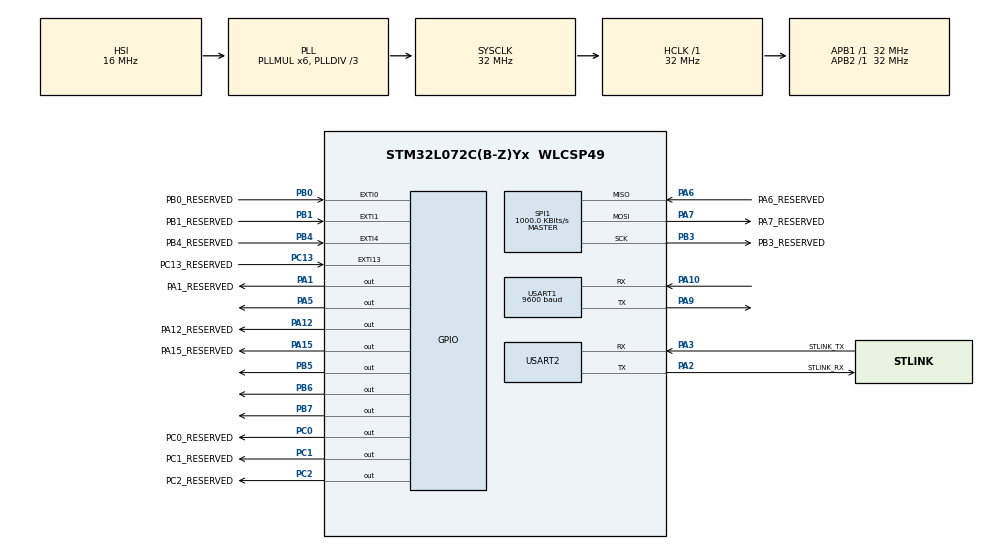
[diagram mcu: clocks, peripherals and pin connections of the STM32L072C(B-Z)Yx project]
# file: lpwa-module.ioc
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Mcu.Family=STM32L0
Mcu.Name=STM32L072C(B-Z)Yx
Mcu.Package=WLCSP49
NVIC.EXTI0_1_IRQn=true\:0\:0\:false\:false\:true\:true\:true
NVIC.EXTI4_15_IRQn=true\:0\:0\:false\:false\:true\:true\:true
NVIC.RTC_IRQn=true\:0\:0\:false\:false\:true\:true\:true
NVIC.TIM3_IRQn=true\:0\:0\:false\:false\:true\:true\:true
NVIC.USART1_IRQn=true\:0\:0\:false\:false\:true\:true\:true
NVIC.USART2_IRQn=true\:0\:0\:false\:false\:true\:true\:true
PA1.GPIO_Label=PA1_RESERVED
PA1.GPIO_Speed=GPIO_SPEED_FREQ_HIGH
PA1.PinState=GPIO_PIN_RESET
PA1.Signal=GPIO_Output
PA10.Mode=Asynchronous
PA10.Signal=USART1_RX
PA12.GPIO_Label=PA12_RESERVED
PA12.GPIO_Speed=GPIO_SPEED_FREQ_HIGH
PA12.Signal=GPIO_Output
PA15.GPIO_Label=PA15_RESERVED
PA15.GPIO_Speed=GPIO_SPEED_FREQ_HIGH
PA15.Signal=GPIO_Output
PA2.GPIO_Label=STLINK_RX
PA2.Mode=Asynchronous
PA2.Signal=USART2_TX
PA3.GPIO_Label=STLINK_TX
PA3.Mode=Asynchronous
PA3.Signal=USART2_RX
PA5.Signal=GPIO_Output
PA6.GPIO_Label=PA6_RESERVED
PA6.Mode=Full_Duplex_Master
PA6.Signal=SPI1_MISO
PA7.GPIO_Label=PA7_RESERVED
PA7.Mode=Full_Duplex_Master
PA7.Signal=SPI1_MOSI
PA9.Mode=Asynchronous
PA9.Signal=USART1_TX
PB0.GPIO_Label=PB0_RESERVED
PB0.Signal=GPXTI0
PB1.GPIO_Label=PB1_RESERVED
PB1.Signal=GPXTI1
PB3.GPIO_Label=PB3_RESERVED
PB3.Mode=Full_Duplex_Master
PB3.Signal=SPI1_SCK
PB4.GPIO_Label=PB4_RESERVED
PB4.Signal=GPXTI4
PB5.Signal=GPIO_Output
PB6.Signal=GPIO_Output
PB7.Signal=GPIO_Output
PC0.GPIO_Label=PC0_RESERVED
PC0.GPIO_Speed=GPIO_SPEED_FREQ_HIGH
PC0.Signal=GPIO_Output
PC1.GPIO_Label=PC1_RESERVED
PC1.GPIO_Speed=GPIO_SPEED_FREQ_HIGH
PC1.Signal=GPIO_Output
PC13.GPIO_Label=PC13_RESERVED
PC13.Signal=GPXTI13
PC2.GPIO_Label=PC2_RESERVED
PC2.GPIO_Speed=GPIO_SPEED_FREQ_HIGH
PC2.Signal=GPIO_Output
PH0-OSC_IN.Signal=RCC_OSC_IN
PH1-OSC_OUT.Signal=RCC_OSC_OUT
ProjectManager.HeapSize=0x200
ProjectManager.StackSize=0x400
ProjectManager.TargetToolchain=STM32CubeIDE
RCC.AHBFreq_Value=32000000
RCC.APB1Freq_Value=32000000
RCC.APB1TimFreq_Value=32000000
RCC.APB2Freq_Value=32000000
RCC.APB2TimFreq_Value=32000000
RCC.HCLKFreq_Value=32000000
RCC.HSE_VALUE=8000000
RCC.HSI16_VALUE=16000000
RCC.HSI48_VALUE=48000000
RCC.HSI_VALUE=16000000
RCC.LSE_VALUE=32768
RCC.MSI_VALUE=2097000
RCC.PLLDIV=RCC_PLLDIV_3
RCC.PLLMUL=RCC_PLLMUL_6
RCC.SYSCLKFreq_VALUE=32000000
RCC.SYSCLKSource=RCC_SYSCLKSOURCE_PLLCLK
RCC.VCOOutputFreq_Value=96000000
RTC.Alarm-Alarm\ A=RTC_ALARM_A
RTC.AlarmSubSecondMask-Alarm\ A=RTC_ALARMSUBSECONDMASK_NONE
RTC.AsynchPrediv=31
RTC.Format=RTC_FORMAT_BIN
RTC.SynchPrediv=1023
SPI1.BaudRatePrescaler=SPI_BAUDRATEPRESCALER_32
SPI1.CalculateBaudRate=1000.0 KBits/s
SPI1.Direction=SPI_DIRECTION_2LINES
SPI1.Mode=SPI_MODE_MASTER
SPI1.VirtualType=VM_MASTER
TIM3.Period=100-1
TIM3.Prescaler=8000-1
USART1.BaudRate=9600
USART1.VirtualMode-Asynchronous=VM_ASYNC
USART2.VirtualMode-Asynchronous=VM_ASYNC
VP_RTC_VS_RTC_Activate.Mode=RTC_Enabled
VP_RTC_VS_RTC_Alarm_A_Intern.Mode=Alarm A
VP_RTC_VS_RTC_Calendar.Mode=RTC_Calendar
VP_TIM3_VS_ClockSourceINT.Mode=Internal
board=B-L072Z-LRWAN1

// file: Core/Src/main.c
/* USER CODE BEGIN Header */
/**
 ******************************************************************************
 * @file           : main.c
 * @brief          : Main program body
 ******************************************************************************
 * @attention
 *
 * <h2><center>&copy; Copyright (c) 2021 STMicroelectronics.
 * All rights reserved.</center></h2>
 *
 * This software component is licensed by ST under BSD 3-Clause license,
 * the "License"; You may not use this file except in compliance with the
 * License. You may obtain a copy of the License at:
 *                        opensource.org/licenses/BSD-3-Clause
 *
 ******************************************************************************
 */
/* USER CODE END Header */
#include "main.h"

/* USER CODE BEGIN Includes */

#include "main.h"
#include "lora.h"
#include "console.h"
#include "command.h"
#include "eeprom.h"
#include "packet.h"

/* USER CODE END Includes */

RTC_HandleTypeDef hrtc;

SPI_HandleTypeDef hspi1;

TIM_HandleTypeDef htim3;

UART_HandleTypeDef huart1;
UART_HandleTypeDef huart2;

/* USER CODE BEGIN PV */

static SX1276_hw_t SX1276_hw;
static SX1276_t SX1276;

int DebugEnable;

int LEDCounterBlink;
int LEDCounterTx;
int LEDCounterRx;
int LEDCounterLED2;

static uint8_t serial_buffer;
static int command_buffer_pos;
static uint8_t command_buffer[200];
static uint8_t sensor_data[22];

/* USER CODE END PV */

void SystemClock_Config(void);
static void MX_GPIO_Init(void);
static void MX_RTC_Init(void);
static void MX_SPI1_Init(void);
static void MX_USART2_UART_Init(void);
static void MX_USART1_UART_Init(void);
static void MX_TIM3_Init(void);

/* USER CODE BEGIN 0 */
void HAL_TIM_PeriodElapsedCallback(TIM_HandleTypeDef *htim)
{
    if (htim == &htim3){
        tc = tc +  1;
    }
}

// ATコマンドを実行したよ�?に見せかけて�?�?
extern int command_uplink(const uint8_t *param);

// Serial callback for AT command input
void HAL_UART_RxCpltCallback(UART_HandleTypeDef *UartHandle) {
	if ( UartHandle->Instance == USART1 ) {
		static int cycle = 0;
		if (DebugEnable) {
			int i;
			SerialOutput("[SENSOR] ");
			for (i = 0; i < 21; i++) {
				SerialOutput("%02X ", sensor_data[i]);
			}
			SerialOutput("\r\n");
		}
		// "ATU"
		if (--cycle <= 0) {
			cycle = ConfigReadFeature(FCONF_TELEMETRY_ON);
			// こ�?�変換、かっこ悪�?ので修正するべき�?�?
			int i;
			char param[49] = "\"!S001";
			for (i = 0; i < 21; i++) {
				sprintf(param + i * 2 + 6, "%1X%1X",
						(sensor_data[i] >> 4) & 0xF, sensor_data[i] & 0xF);
			}
			if( cycle > 0 ){
				command_uplink((uint8_t*) param);
			}
		}
		// Next
		HAL_UART_Receive_IT(&huart1, (uint8_t*) sensor_data, 21);
	} else if (UartHandle->Instance == USART2) {
		SerialOutput("%c", serial_buffer);
		if (serial_buffer == 0x08) {
			// Backspace
			if (command_buffer_pos > 0) {
				SerialOutput(" \x08");
				command_buffer_pos--;
			}
		} else {
			command_buffer[command_buffer_pos++] = serial_buffer;
		}
		// Next
		HAL_UART_Receive_IT(&huart2, (uint8_t*) &serial_buffer, 1);
	}
}

// one line command completed?
uint8_t * check_command_buffer(void) {
	static uint8_t temp_buffer[200];
	// コマンド�?�力完�??�?
	if (command_buffer[command_buffer_pos - 1] != '\r')
		return NULL;
	//
	memcpy(temp_buffer, command_buffer, command_buffer_pos);
	temp_buffer[command_buffer_pos - 1] = 0;
	command_buffer_pos = 0;
	return temp_buffer;
}

/* USER CODE END 0 */

int main(void)
{

  /* MCU Configuration--------------------------------------------------------*/

  /* Reset of all peripherals, Initializes the Flash interface and the Systick. */
  HAL_Init();

  /* Configure the system clock */
  SystemClock_Config();

  /* Initialize all configured peripherals */
  MX_GPIO_Init();
  MX_RTC_Init();
  MX_SPI1_Init();
  MX_USART2_UART_Init();
  MX_USART1_UART_Init();
  MX_TIM3_Init();
  /* USER CODE BEGIN 2 */

	LoRaHwInit(&SX1276_hw, &SX1276);
	LoRaSetup(&SX1276, 4, 7);

	PacketInit();

	command_buffer_pos = 0;
	HAL_UART_Receive_IT(&huart2, (uint8_t*) &serial_buffer, 1);
    HAL_UART_Receive_IT(&huart1, (uint8_t*) sensor_data, 21);
	SerialOutput("-- START --\n\r");

	int led_loop_count = 0;
	int tx_loop_count = 0;
	LEDCounterBlink = 20;
	LEDCounterTx = 0;
	LEDCounterRx = 0;
	LEDCounterLED2 = 0;
	DebugEnable = 0;   // debug off

	// SEQを設定す�?
	// HQは初期値�?1、その他�?�初期値�?0
	if ( IsHQ(ConfigReadDeviceID()) ) {
		ConfigWriteSeq(1);
	} else {
		ConfigWriteSeq(0);
	}

	// Entry Rx Mode
	SX1276_LoRaEntryRx(&SX1276, 255, 2000);

  /* USER CODE END 2 */

  /* Infinite loop */
  /* USER CODE BEGIN WHILE */
	while (1) {
		// LEDを制御する
		// Green = Heart Beat, 動作中は点�?しつづける
		led_loop_count = (led_loop_count + 1) % LEDCounterBlink;
		if (led_loop_count == 0) {
			LedOutput(LED_GREEN, 1);
		} else {
			LedOutput(LED_GREEN, 0);
		}
		// Red = Tx
		if (LEDCounterTx <= 0) {
			LEDCounterTx = 0;
			LedOutput(LED_RED, 0);
		} else {
			LEDCounterTx--;
			LedOutput(LED_RED, 1);
		}
		// Blue = Rx
		if (LEDCounterRx <= 0) {
			LEDCounterRx = 0;
			LedOutput(LED_BLUE, 0);
		} else {
			LEDCounterRx--;
			LedOutput(LED_BLUE, 1);
		}
		// LED2
		if (LEDCounterLED2 <= 0) {
			LEDCounterLED2 = 0;
			LedOutput(LED_AUX, 0);
		} else {
			LEDCounterLED2--;
			LedOutput(LED_AUX, 1);
		}

		// check command buffer
		uint8_t *cmd = check_command_buffer();
		if (cmd != NULL) {
			// Execute command
			SerialOutput("\r\n");
			CommandExecute(cmd);
		}

		// 送受信用パケ�?�?
		uint8_t packet[256];

		// Receive LoRa
		int packet_size = LoRaReceiveMessage(&SX1276, (uint8_t*) packet);
		if (packet_size > 0) {
			PacketExecute(packet, packet_size);
			SX1276_LoRaEntryRx(&SX1276, 255, 2000);
		}

		// 受信後に 50ms �?つ
		HAL_Delay(50);

		// Send LoRa
		if (tx_loop_count <= 0 && PacketSize(PACKET_TX_FIFO) > 0) {
			packet_size = PacketDequeue(PACKET_TX_FIFO, packet);
			LoRaSendMessage(&SX1276, packet, packet_size);
			tx_loop_count = 8;   // LoRaの送信は 800[ms]周期（次回�?�送信までの時間?�?
		} else {
			tx_loop_count--;
		}

		// 送信後に 50ms �?つ
		HAL_Delay(50);

    /* USER CODE END WHILE */

	}
}

void SystemClock_Config(void)
{
  RCC_OscInitTypeDef RCC_OscInitStruct = {0};
  RCC_ClkInitTypeDef RCC_ClkInitStruct = {0};
  RCC_PeriphCLKInitTypeDef PeriphClkInit = {0};

  /** Configure the main internal regulator output voltage
  */
  __HAL_PWR_VOLTAGESCALING_CONFIG(PWR_REGULATOR_VOLTAGE_SCALE1);
  /** Initializes the RCC Oscillators according to the specified parameters
  * in the RCC_OscInitTypeDef structure.
  */
  RCC_OscInitStruct.OscillatorType = RCC_OSCILLATORTYPE_HSI|RCC_OSCILLATORTYPE_LSI;
  RCC_OscInitStruct.HSIState = RCC_HSI_ON;
  RCC_OscInitStruct.HSICalibrationValue = RCC_HSICALIBRATION_DEFAULT;
  RCC_OscInitStruct.LSIState = RCC_LSI_ON;
  RCC_OscInitStruct.PLL.PLLState = RCC_PLL_ON;
  RCC_OscInitStruct.PLL.PLLSource = RCC_PLLSOURCE_HSI;
  RCC_OscInitStruct.PLL.PLLMUL = RCC_PLLMUL_6;
  RCC_OscInitStruct.PLL.PLLDIV = RCC_PLLDIV_3;
  if (HAL_RCC_OscConfig(&RCC_OscInitStruct) != HAL_OK)
  {
    Error_Handler();
  }
  /** Initializes the CPU, AHB and APB buses clocks
  */
  RCC_ClkInitStruct.ClockType = RCC_CLOCKTYPE_HCLK|RCC_CLOCKTYPE_SYSCLK
                              |RCC_CLOCKTYPE_PCLK1|RCC_CLOCKTYPE_PCLK2;
  RCC_ClkInitStruct.SYSCLKSource = RCC_SYSCLKSOURCE_PLLCLK;
  RCC_ClkInitStruct.AHBCLKDivider = RCC_SYSCLK_DIV1;
  RCC_ClkInitStruct.APB1CLKDivider = RCC_HCLK_DIV1;
  RCC_ClkInitStruct.APB2CLKDivider = RCC_HCLK_DIV1;

  if (HAL_RCC_ClockConfig(&RCC_ClkInitStruct, FLASH_LATENCY_1) != HAL_OK)
  {
    Error_Handler();
  }
  PeriphClkInit.PeriphClockSelection = RCC_PERIPHCLK_USART1|RCC_PERIPHCLK_USART2
                              |RCC_PERIPHCLK_RTC;
  PeriphClkInit.Usart1ClockSelection = RCC_USART1CLKSOURCE_PCLK2;
  PeriphClkInit.Usart2ClockSelection = RCC_USART2CLKSOURCE_PCLK1;
  PeriphClkInit.RTCClockSelection = RCC_RTCCLKSOURCE_LSI;
  if (HAL_RCCEx_PeriphCLKConfig(&PeriphClkInit) != HAL_OK)
  {
    Error_Handler();
  }
}

static void MX_RTC_Init(void)
{

  RTC_TimeTypeDef sTime = {0};
  RTC_DateTypeDef sDate = {0};
  RTC_AlarmTypeDef sAlarm = {0};

  /** Initialize RTC Only
  */
  hrtc.Instance = RTC;
  hrtc.Init.HourFormat = RTC_HOURFORMAT_24;
  hrtc.Init.AsynchPrediv = 31;
  hrtc.Init.SynchPrediv = 1023;
  hrtc.Init.OutPut = RTC_OUTPUT_DISABLE;
  hrtc.Init.OutPutRemap = RTC_OUTPUT_REMAP_NONE;
  hrtc.Init.OutPutPolarity = RTC_OUTPUT_POLARITY_HIGH;
  hrtc.Init.OutPutType = RTC_OUTPUT_TYPE_OPENDRAIN;
  if (HAL_RTC_Init(&hrtc) != HAL_OK)
  {
    Error_Handler();
  }

  /** Initialize RTC and set the Time and Date
  */
  sTime.Hours = 0;
  sTime.Minutes = 0;
  sTime.Seconds = 0;
  sTime.DayLightSaving = RTC_DAYLIGHTSAVING_NONE;
  sTime.StoreOperation = RTC_STOREOPERATION_RESET;
  if (HAL_RTC_SetTime(&hrtc, &sTime, RTC_FORMAT_BIN) != HAL_OK)
  {
    Error_Handler();
  }
  sDate.WeekDay = RTC_WEEKDAY_MONDAY;
  sDate.Month = RTC_MONTH_JANUARY;
  sDate.Date = 1;
  sDate.Year = 0;

  if (HAL_RTC_SetDate(&hrtc, &sDate, RTC_FORMAT_BIN) != HAL_OK)
  {
    Error_Handler();
  }
  /** Enable the Alarm A
  */
  sAlarm.AlarmTime.Hours = 0;
  sAlarm.AlarmTime.Minutes = 0;
  sAlarm.AlarmTime.Seconds = 0;
  sAlarm.AlarmTime.SubSeconds = 0;
  sAlarm.AlarmTime.DayLightSaving = RTC_DAYLIGHTSAVING_NONE;
  sAlarm.AlarmTime.StoreOperation = RTC_STOREOPERATION_RESET;
  sAlarm.AlarmMask = RTC_ALARMMASK_NONE;
  sAlarm.AlarmSubSecondMask = RTC_ALARMSUBSECONDMASK_NONE;
  sAlarm.AlarmDateWeekDaySel = RTC_ALARMDATEWEEKDAYSEL_DATE;
  sAlarm.AlarmDateWeekDay = 1;
  sAlarm.Alarm = RTC_ALARM_A;
  if (HAL_RTC_SetAlarm_IT(&hrtc, &sAlarm, RTC_FORMAT_BIN) != HAL_OK)
  {
    Error_Handler();
  }

}

static void MX_SPI1_Init(void)
{

  /* SPI1 parameter configuration*/
  hspi1.Instance = SPI1;
  hspi1.Init.Mode = SPI_MODE_MASTER;
  hspi1.Init.Direction = SPI_DIRECTION_2LINES;
  hspi1.Init.DataSize = SPI_DATASIZE_8BIT;
  hspi1.Init.CLKPolarity = SPI_POLARITY_LOW;
  hspi1.Init.CLKPhase = SPI_PHASE_1EDGE;
  hspi1.Init.NSS = SPI_NSS_SOFT;
  hspi1.Init.BaudRatePrescaler = SPI_BAUDRATEPRESCALER_32;
  hspi1.Init.FirstBit = SPI_FIRSTBIT_MSB;
  hspi1.Init.TIMode = SPI_TIMODE_DISABLE;
  hspi1.Init.CRCCalculation = SPI_CRCCALCULATION_DISABLE;
  hspi1.Init.CRCPolynomial = 7;
  if (HAL_SPI_Init(&hspi1) != HAL_OK)
  {
    Error_Handler();
  }

}

static void MX_TIM3_Init(void)
{

  TIM_ClockConfigTypeDef sClockSourceConfig = {0};
  TIM_MasterConfigTypeDef sMasterConfig = {0};

  htim3.Instance = TIM3;
  htim3.Init.Prescaler = 32000-1;
  htim3.Init.CounterMode = TIM_COUNTERMODE_UP;
  htim3.Init.Period = 100-1;
  htim3.Init.ClockDivision = TIM_CLOCKDIVISION_DIV1;
  htim3.Init.AutoReloadPreload = TIM_AUTORELOAD_PRELOAD_DISABLE;
  if (HAL_TIM_Base_Init(&htim3) != HAL_OK)
  {
    Error_Handler();
  }
  sClockSourceConfig.ClockSource = TIM_CLOCKSOURCE_INTERNAL;
  if (HAL_TIM_ConfigClockSource(&htim3, &sClockSourceConfig) != HAL_OK)
  {
    Error_Handler();
  }
  sMasterConfig.MasterOutputTrigger = TIM_TRGO_RESET;
  sMasterConfig.MasterSlaveMode = TIM_MASTERSLAVEMODE_DISABLE;
  if (HAL_TIMEx_MasterConfigSynchronization(&htim3, &sMasterConfig) != HAL_OK)
  {
    Error_Handler();
  }
  /* USER CODE BEGIN TIM3_Init 2 */
  HAL_TIM_Base_Start_IT(&htim3);
  /* USER CODE END TIM3_Init 2 */

}

static void MX_USART1_UART_Init(void)
{

  huart1.Instance = USART1;
  huart1.Init.BaudRate = 9600;
  huart1.Init.WordLength = UART_WORDLENGTH_8B;
  huart1.Init.StopBits = UART_STOPBITS_1;
  huart1.Init.Parity = UART_PARITY_NONE;
  huart1.Init.Mode = UART_MODE_TX_RX;
  huart1.Init.HwFlowCtl = UART_HWCONTROL_NONE;
  huart1.Init.OverSampling = UART_OVERSAMPLING_16;
  huart1.Init.OneBitSampling = UART_ONE_BIT_SAMPLE_DISABLE;
  huart1.AdvancedInit.AdvFeatureInit = UART_ADVFEATURE_NO_INIT;
  if (HAL_UART_Init(&huart1) != HAL_OK)
  {
    Error_Handler();
  }

}

static void MX_USART2_UART_Init(void)
{

  huart2.Instance = USART2;
  huart2.Init.BaudRate = 115200;
  huart2.Init.WordLength = UART_WORDLENGTH_8B;
  huart2.Init.StopBits = UART_STOPBITS_1;
  huart2.Init.Parity = UART_PARITY_NONE;
  huart2.Init.Mode = UART_MODE_TX_RX;
  huart2.Init.HwFlowCtl = UART_HWCONTROL_NONE;
  huart2.Init.OverSampling = UART_OVERSAMPLING_16;
  huart2.Init.OneBitSampling = UART_ONE_BIT_SAMPLE_DISABLE;
  huart2.AdvancedInit.AdvFeatureInit = UART_ADVFEATURE_NO_INIT;
  if (HAL_UART_Init(&huart2) != HAL_OK)
  {
    Error_Handler();
  }
  /* USER CODE BEGIN USART2_Init 2 */

	//  huart2.pRxBuffPtr=(uint8_t *)&_serial_buffer;
	//  huart2.RxXferCount = 1;
	//  huart2.Mask=255;
	__HAL_UART_ENABLE_IT(&huart2, UART_IT_RXNE);

  /* USER CODE END USART2_Init 2 */

}

static void MX_GPIO_Init(void)
{
  GPIO_InitTypeDef GPIO_InitStruct = {0};

  /* GPIO Ports Clock Enable */
  __HAL_RCC_GPIOA_CLK_ENABLE();
  __HAL_RCC_GPIOB_CLK_ENABLE();
  __HAL_RCC_GPIOC_CLK_ENABLE();
  __HAL_RCC_GPIOH_CLK_ENABLE();

  /*Configure GPIO pin Output Level */
  HAL_GPIO_WritePin(GPIOA, PA15_RESERVED_Pin|PA12_RESERVED_Pin|PA1_RESERVED_Pin|GPIO_PIN_5, GPIO_PIN_RESET);

  /*Configure GPIO pin Output Level */
  HAL_GPIO_WritePin(GPIOB, GPIO_PIN_5|GPIO_PIN_6|GPIO_PIN_7, GPIO_PIN_RESET);

  /*Configure GPIO pin Output Level */
  HAL_GPIO_WritePin(GPIOC, PC1_RESERVED_Pin|PC0_RESERVED_Pin|PC2_RESERVED_Pin, GPIO_PIN_RESET);

  /*Configure GPIO pins : PA15_RESERVED_Pin PA12_RESERVED_Pin PA1_RESERVED_Pin */
  GPIO_InitStruct.Pin = PA15_RESERVED_Pin|PA12_RESERVED_Pin|PA1_RESERVED_Pin;
  GPIO_InitStruct.Mode = GPIO_MODE_OUTPUT_PP;
  GPIO_InitStruct.Pull = GPIO_NOPULL;
  GPIO_InitStruct.Speed = GPIO_SPEED_FREQ_HIGH;
  HAL_GPIO_Init(GPIOA, &GPIO_InitStruct);

  /*Configure GPIO pins : PB5 PB6 PB7 */
  GPIO_InitStruct.Pin = GPIO_PIN_5|GPIO_PIN_6|GPIO_PIN_7;
  GPIO_InitStruct.Mode = GPIO_MODE_OUTPUT_PP;
  GPIO_InitStruct.Pull = GPIO_NOPULL;
  GPIO_InitStruct.Speed = GPIO_SPEED_FREQ_LOW;
  HAL_GPIO_Init(GPIOB, &GPIO_InitStruct);

  /*Configure GPIO pins : PB4_RESERVED_Pin PB1_RESERVED_Pin PB0_RESERVED_Pin */
  GPIO_InitStruct.Pin = PB4_RESERVED_Pin|PB1_RESERVED_Pin|PB0_RESERVED_Pin;
  GPIO_InitStruct.Mode = GPIO_MODE_IT_RISING;
  GPIO_InitStruct.Pull = GPIO_NOPULL;
  HAL_GPIO_Init(GPIOB, &GPIO_InitStruct);

  /*Configure GPIO pin : PC13_RESERVED_Pin */
  GPIO_InitStruct.Pin = PC13_RESERVED_Pin;
  GPIO_InitStruct.Mode = GPIO_MODE_IT_RISING;
  GPIO_InitStruct.Pull = GPIO_NOPULL;
  HAL_GPIO_Init(PC13_RESERVED_GPIO_Port, &GPIO_InitStruct);

  /*Configure GPIO pins : PC1_RESERVED_Pin PC0_RESERVED_Pin PC2_RESERVED_Pin */
  GPIO_InitStruct.Pin = PC1_RESERVED_Pin|PC0_RESERVED_Pin|PC2_RESERVED_Pin;
  GPIO_InitStruct.Mode = GPIO_MODE_OUTPUT_PP;
  GPIO_InitStruct.Pull = GPIO_NOPULL;
  GPIO_InitStruct.Speed = GPIO_SPEED_FREQ_HIGH;
  HAL_GPIO_Init(GPIOC, &GPIO_InitStruct);

  /*Configure GPIO pin : PA5 */
  GPIO_InitStruct.Pin = GPIO_PIN_5;
  GPIO_InitStruct.Mode = GPIO_MODE_OUTPUT_PP;
  GPIO_InitStruct.Pull = GPIO_NOPULL;
  GPIO_InitStruct.Speed = GPIO_SPEED_FREQ_LOW;
  HAL_GPIO_Init(GPIOA, &GPIO_InitStruct);

  /* EXTI interrupt init*/
  HAL_NVIC_SetPriority(EXTI0_1_IRQn, 0, 0);
  HAL_NVIC_EnableIRQ(EXTI0_1_IRQn);

  HAL_NVIC_SetPriority(EXTI4_15_IRQn, 0, 0);
  HAL_NVIC_EnableIRQ(EXTI4_15_IRQn);

}

void Error_Handler(void)
{
	__disable_irq();
	while (1) {
	}
}

/************************ (C) COPYRIGHT STMicroelectronics *****END OF FILE****/
